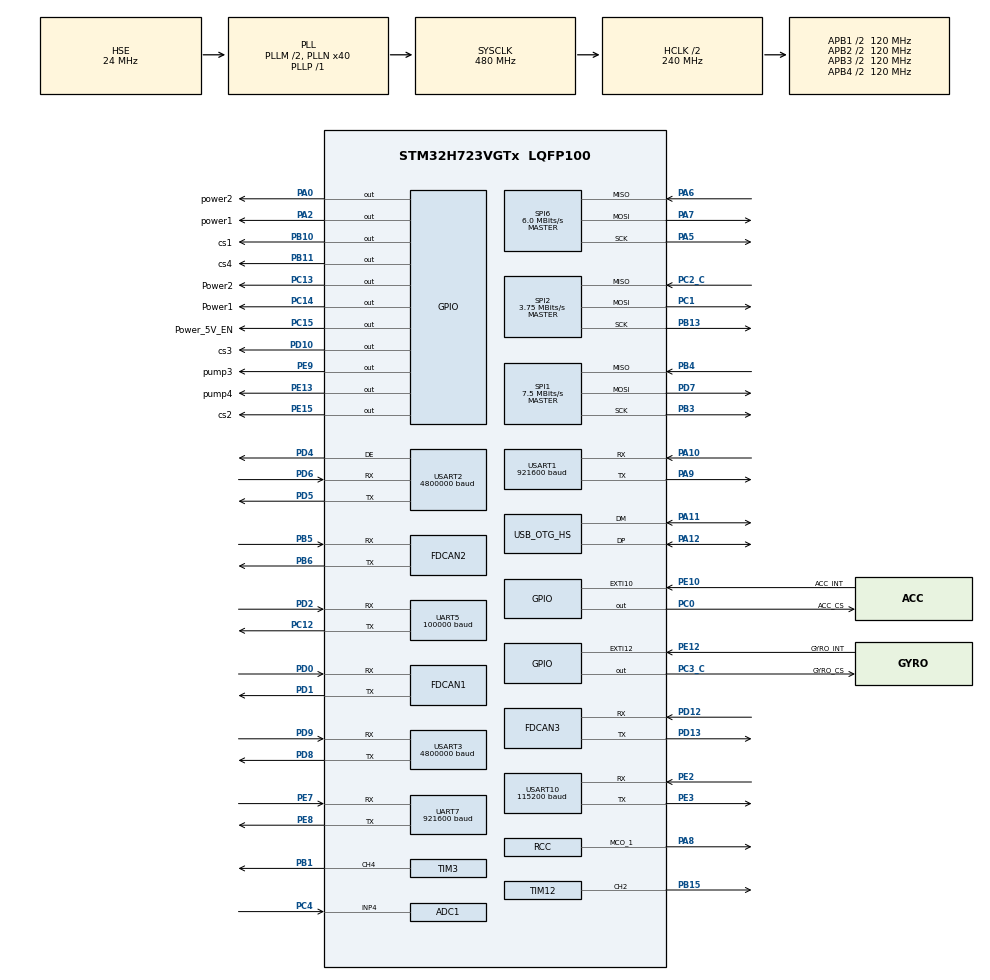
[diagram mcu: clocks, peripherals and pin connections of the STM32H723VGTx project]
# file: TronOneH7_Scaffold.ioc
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ADC1.Channel-0\#ChannelRegularConversion=ADC_CHANNEL_4
ADC1.Channel-1\#ChannelRegularConversion=ADC_CHANNEL_4
ADC1.ClockPrescaler=ADC_CLOCK_ASYNC_DIV64
ADC1.ContinuousConvMode=ENABLE
ADC1.ConversionDataManagement=ADC_CONVERSIONDATA_DMA_CIRCULAR
ADC1.NbrOfConversion=2
ADC1.NbrOfConversionFlag=1
ADC1.OffsetNumber-0\#ChannelRegularConversion=ADC_OFFSET_NONE
ADC1.OffsetNumber-1\#ChannelRegularConversion=ADC_OFFSET_NONE
ADC1.OffsetSignedSaturation-0\#ChannelRegularConversion=DISABLE
ADC1.OffsetSignedSaturation-1\#ChannelRegularConversion=DISABLE
ADC1.Rank-0\#ChannelRegularConversion=1
ADC1.Rank-1\#ChannelRegularConversion=2
ADC1.SamplingTime-0\#ChannelRegularConversion=ADC_SAMPLETIME_1CYCLE_5
ADC1.SamplingTime-1\#ChannelRegularConversion=ADC_SAMPLETIME_1CYCLE_5
ADC1.master=1
ADC3.Channel-0\#ChannelRegularConversion=ADC_CHANNEL_TEMPSENSOR
ADC3.ClockPrescaler=ADC_CLOCK_ASYNC_DIV64
ADC3.NbrOfConversionFlag=1
ADC3.OffsetNumber-0\#ChannelRegularConversion=ADC_OFFSET_NONE
ADC3.OffsetSign-0\#ChannelRegularConversion=ADC3_OFFSET_SIGN_NEGATIVE
ADC3.Rank-0\#ChannelRegularConversion=1
ADC3.SamplingTime-0\#ChannelRegularConversion=ADC3_SAMPLETIME_640CYCLES_5
CORTEX_M7.AccessPermission_Spec=MPU_REGION_FULL_ACCESS
CORTEX_M7.BaseAddress_Spec=0x24000000
CORTEX_M7.CPU_DCache=Enabled
CORTEX_M7.CPU_ICache=Enabled
CORTEX_M7.DisableExec_Spec=MPU_INSTRUCTION_ACCESS_ENABLE
CORTEX_M7.IsShareable_Spec=MPU_ACCESS_NOT_SHAREABLE
CORTEX_M7.MPU_Control=MPU_HFNMI_PRIVDEF
CORTEX_M7.Size_Spec=MPU_REGION_SIZE_128KB
CORTEX_M7.SubRegionDisable_Spec=0x0
CORTEX_M7.TypeExtField_Spec=MPU_TEX_LEVEL1
CORTEX_M7.default_mode_Activation=1
CRC.CRCLength=CRC_POLYLENGTH_16B
CRC.DefaultInitValueUse=DEFAULT_INIT_VALUE_DISABLE
CRC.DefaultPolynomialUse=DEFAULT_POLYNOMIAL_DISABLE
CRC.InputDataInversionMode=CRC_INPUTDATA_INVERSION_BYTE
Dma.ADC1.14.Direction=DMA_PERIPH_TO_MEMORY
Dma.ADC1.14.EventEnable=DISABLE
Dma.ADC1.14.FIFOMode=DMA_FIFOMODE_DISABLE
Dma.ADC1.14.Instance=DMA1_Stream2
Dma.ADC1.14.MemDataAlignment=DMA_MDATAALIGN_HALFWORD
Dma.ADC1.14.MemInc=DMA_MINC_ENABLE
Dma.ADC1.14.Mode=DMA_CIRCULAR
Dma.ADC1.14.PeriphDataAlignment=DMA_PDATAALIGN_HALFWORD
Dma.ADC1.14.PeriphInc=DMA_PINC_DISABLE
Dma.ADC1.14.Polarity=HAL_DMAMUX_REQ_GEN_RISING
Dma.ADC1.14.Priority=DMA_PRIORITY_LOW
Dma.ADC1.14.RequestNumber=1
Dma.ADC1.14.SignalID=NONE
Dma.ADC1.14.SyncEnable=DISABLE
Dma.ADC1.14.SyncPolarity=HAL_DMAMUX_SYNC_NO_EVENT
Dma.ADC1.14.SyncRequestNumber=1
Dma.ADC1.14.SyncSignalID=NONE
Dma.Request0=USART10_RX
Dma.Request1=USART10_TX
Dma.Request10=USART3_TX
Dma.Request11=SPI1_RX
Dma.Request12=SPI1_TX
Dma.Request13=UART5_RX
Dma.Request14=ADC1
Dma.Request2=SPI2_RX
Dma.Request3=SPI2_TX
Dma.Request4=UART7_RX
Dma.Request5=USART1_RX
Dma.Request6=USART1_TX
Dma.Request7=USART2_RX
Dma.Request8=USART2_TX
Dma.Request9=USART3_RX
Dma.SPI1_RX.11.Direction=DMA_PERIPH_TO_MEMORY
Dma.SPI1_RX.11.EventEnable=DISABLE
Dma.SPI1_RX.11.FIFOMode=DMA_FIFOMODE_DISABLE
Dma.SPI1_RX.11.Instance=DMA2_Stream7
Dma.SPI1_RX.11.MemDataAlignment=DMA_MDATAALIGN_HALFWORD
Dma.SPI1_RX.11.MemInc=DMA_MINC_ENABLE
Dma.SPI1_RX.11.Mode=DMA_NORMAL
Dma.SPI1_RX.11.PeriphDataAlignment=DMA_PDATAALIGN_HALFWORD
Dma.SPI1_RX.11.PeriphInc=DMA_PINC_DISABLE
Dma.SPI1_RX.11.Polarity=HAL_DMAMUX_REQ_GEN_RISING
Dma.SPI1_RX.11.Priority=DMA_PRIORITY_VERY_HIGH
Dma.SPI1_RX.11.RequestNumber=1
Dma.SPI1_RX.11.SignalID=NONE
Dma.SPI1_RX.11.SyncEnable=DISABLE
Dma.SPI1_RX.11.SyncPolarity=HAL_DMAMUX_SYNC_NO_EVENT
Dma.SPI1_RX.11.SyncRequestNumber=1
Dma.SPI1_RX.11.SyncSignalID=NONE
Dma.SPI1_TX.12.Direction=DMA_MEMORY_TO_PERIPH
Dma.SPI1_TX.12.EventEnable=DISABLE
Dma.SPI1_TX.12.FIFOMode=DMA_FIFOMODE_DISABLE
Dma.SPI1_TX.12.Instance=DMA1_Stream3
Dma.SPI1_TX.12.MemDataAlignment=DMA_MDATAALIGN_HALFWORD
Dma.SPI1_TX.12.MemInc=DMA_MINC_ENABLE
Dma.SPI1_TX.12.Mode=DMA_NORMAL
Dma.SPI1_TX.12.PeriphDataAlignment=DMA_PDATAALIGN_HALFWORD
Dma.SPI1_TX.12.PeriphInc=DMA_PINC_DISABLE
Dma.SPI1_TX.12.Polarity=HAL_DMAMUX_REQ_GEN_RISING
Dma.SPI1_TX.12.Priority=DMA_PRIORITY_VERY_HIGH
Dma.SPI1_TX.12.RequestNumber=1
Dma.SPI1_TX.12.SignalID=NONE
Dma.SPI1_TX.12.SyncEnable=DISABLE
Dma.SPI1_TX.12.SyncPolarity=HAL_DMAMUX_SYNC_NO_EVENT
Dma.SPI1_TX.12.SyncRequestNumber=1
Dma.SPI1_TX.12.SyncSignalID=NONE
Dma.SPI2_RX.2.Direction=DMA_PERIPH_TO_MEMORY
Dma.SPI2_RX.2.EventEnable=DISABLE
Dma.SPI2_RX.2.FIFOMode=DMA_FIFOMODE_DISABLE
Dma.SPI2_RX.2.Instance=DMA1_Stream0
Dma.SPI2_RX.2.MemDataAlignment=DMA_MDATAALIGN_BYTE
Dma.SPI2_RX.2.MemInc=DMA_MINC_ENABLE
Dma.SPI2_RX.2.Mode=DMA_NORMAL
Dma.SPI2_RX.2.PeriphDataAlignment=DMA_PDATAALIGN_BYTE
Dma.SPI2_RX.2.PeriphInc=DMA_PINC_DISABLE
Dma.SPI2_RX.2.Polarity=HAL_DMAMUX_REQ_GEN_RISING
Dma.SPI2_RX.2.Priority=DMA_PRIORITY_VERY_HIGH
Dma.SPI2_RX.2.RequestNumber=1
Dma.SPI2_RX.2.SignalID=NONE
Dma.SPI2_RX.2.SyncEnable=DISABLE
Dma.SPI2_RX.2.SyncPolarity=HAL_DMAMUX_SYNC_NO_EVENT
Dma.SPI2_RX.2.SyncRequestNumber=1
Dma.SPI2_RX.2.SyncSignalID=NONE
Dma.SPI2_TX.3.Direction=DMA_MEMORY_TO_PERIPH
Dma.SPI2_TX.3.EventEnable=DISABLE
Dma.SPI2_TX.3.FIFOMode=DMA_FIFOMODE_DISABLE
Dma.SPI2_TX.3.Instance=DMA1_Stream1
Dma.SPI2_TX.3.MemDataAlignment=DMA_MDATAALIGN_BYTE
Dma.SPI2_TX.3.MemInc=DMA_MINC_ENABLE
Dma.SPI2_TX.3.Mode=DMA_NORMAL
Dma.SPI2_TX.3.PeriphDataAlignment=DMA_PDATAALIGN_BYTE
Dma.SPI2_TX.3.PeriphInc=DMA_PINC_DISABLE
Dma.SPI2_TX.3.Polarity=HAL_DMAMUX_REQ_GEN_RISING
Dma.SPI2_TX.3.Priority=DMA_PRIORITY_HIGH
Dma.SPI2_TX.3.RequestNumber=1
Dma.SPI2_TX.3.SignalID=NONE
Dma.SPI2_TX.3.SyncEnable=DISABLE
Dma.SPI2_TX.3.SyncPolarity=HAL_DMAMUX_SYNC_NO_EVENT
Dma.SPI2_TX.3.SyncRequestNumber=1
Dma.SPI2_TX.3.SyncSignalID=NONE
Dma.UART5_RX.13.Direction=DMA_PERIPH_TO_MEMORY
Dma.UART5_RX.13.EventEnable=DISABLE
Dma.UART5_RX.13.FIFOMode=DMA_FIFOMODE_DISABLE
Dma.UART5_RX.13.Instance=DMA1_Stream5
Dma.UART5_RX.13.MemDataAlignment=DMA_MDATAALIGN_BYTE
Dma.UART5_RX.13.MemInc=DMA_MINC_ENABLE
Dma.UART5_RX.13.Mode=DMA_NORMAL
Dma.UART5_RX.13.PeriphDataAlignment=DMA_PDATAALIGN_BYTE
Dma.UART5_RX.13.PeriphInc=DMA_PINC_DISABLE
Dma.UART5_RX.13.Polarity=HAL_DMAMUX_REQ_GEN_RISING
Dma.UART5_RX.13.Priority=DMA_PRIORITY_VERY_HIGH
Dma.UART5_RX.13.RequestNumber=1
Dma.UART5_RX.13.SignalID=NONE
Dma.UART5_RX.13.SyncEnable=DISABLE
Dma.UART5_RX.13.SyncPolarity=HAL_DMAMUX_SYNC_NO_EVENT
Dma.UART5_RX.13.SyncRequestNumber=1
Dma.UART5_RX.13.SyncSignalID=NONE
Dma.UART7_RX.4.Direction=DMA_PERIPH_TO_MEMORY
Dma.UART7_RX.4.EventEnable=DISABLE
Dma.UART7_RX.4.FIFOMode=DMA_FIFOMODE_DISABLE
Dma.UART7_RX.4.Instance=DMA2_Stream0
Dma.UART7_RX.4.MemDataAlignment=DMA_MDATAALIGN_BYTE
Dma.UART7_RX.4.MemInc=DMA_MINC_ENABLE
Dma.UART7_RX.4.Mode=DMA_CIRCULAR
Dma.UART7_RX.4.PeriphDataAlignment=DMA_PDATAALIGN_BYTE
Dma.UART7_RX.4.PeriphInc=DMA_PINC_DISABLE
Dma.UART7_RX.4.Polarity=HAL_DMAMUX_REQ_GEN_RISING
Dma.UART7_RX.4.Priority=DMA_PRIORITY_LOW
Dma.UART7_RX.4.RequestNumber=1
Dma.UART7_RX.4.SignalID=NONE
Dma.UART7_RX.4.SyncEnable=DISABLE
Dma.UART7_RX.4.SyncPolarity=HAL_DMAMUX_SYNC_NO_EVENT
Dma.UART7_RX.4.SyncRequestNumber=1
Dma.UART7_RX.4.SyncSignalID=NONE
Dma.USART10_RX.0.Direction=DMA_PERIPH_TO_MEMORY
Dma.USART10_RX.0.EventEnable=DISABLE
Dma.USART10_RX.0.FIFOMode=DMA_FIFOMODE_DISABLE
Dma.USART10_RX.0.Instance=DMA2_Stream1
Dma.USART10_RX.0.MemDataAlignment=DMA_MDATAALIGN_BYTE
Dma.USART10_RX.0.MemInc=DMA_MINC_ENABLE
Dma.USART10_RX.0.Mode=DMA_CIRCULAR
Dma.USART10_RX.0.PeriphDataAlignment=DMA_PDATAALIGN_BYTE
Dma.USART10_RX.0.PeriphInc=DMA_PINC_DISABLE
Dma.USART10_RX.0.Polarity=HAL_DMAMUX_REQ_GEN_RISING
Dma.USART10_RX.0.Priority=DMA_PRIORITY_VERY_HIGH
Dma.USART10_RX.0.RequestNumber=1
Dma.USART10_RX.0.SignalID=NONE
Dma.USART10_RX.0.SyncEnable=DISABLE
Dma.USART10_RX.0.SyncPolarity=HAL_DMAMUX_SYNC_NO_EVENT
Dma.USART10_RX.0.SyncRequestNumber=1
Dma.USART10_RX.0.SyncSignalID=NONE
Dma.USART10_TX.1.Direction=DMA_MEMORY_TO_PERIPH
Dma.USART10_TX.1.EventEnable=DISABLE
Dma.USART10_TX.1.FIFOMode=DMA_FIFOMODE_DISABLE
Dma.USART10_TX.1.Instance=DMA1_Stream4
Dma.USART10_TX.1.MemDataAlignment=DMA_MDATAALIGN_BYTE
Dma.USART10_TX.1.MemInc=DMA_MINC_ENABLE
Dma.USART10_TX.1.Mode=DMA_NORMAL
Dma.USART10_TX.1.PeriphDataAlignment=DMA_PDATAALIGN_BYTE
Dma.USART10_TX.1.PeriphInc=DMA_PINC_DISABLE
Dma.USART10_TX.1.Polarity=HAL_DMAMUX_REQ_GEN_RISING
Dma.USART10_TX.1.Priority=DMA_PRIORITY_LOW
Dma.USART10_TX.1.RequestNumber=1
Dma.USART10_TX.1.SignalID=NONE
Dma.USART10_TX.1.SyncEnable=DISABLE
Dma.USART10_TX.1.SyncPolarity=HAL_DMAMUX_SYNC_NO_EVENT
Dma.USART10_TX.1.SyncRequestNumber=1
Dma.USART10_TX.1.SyncSignalID=NONE
Dma.USART1_RX.5.Direction=DMA_PERIPH_TO_MEMORY
Dma.USART1_RX.5.EventEnable=DISABLE
Dma.USART1_RX.5.FIFOMode=DMA_FIFOMODE_DISABLE
Dma.USART1_RX.5.Instance=DMA1_Stream6
Dma.USART1_RX.5.MemDataAlignment=DMA_MDATAALIGN_BYTE
Dma.USART1_RX.5.MemInc=DMA_MINC_ENABLE
Dma.USART1_RX.5.Mode=DMA_CIRCULAR
Dma.USART1_RX.5.PeriphDataAlignment=DMA_PDATAALIGN_BYTE
Dma.USART1_RX.5.PeriphInc=DMA_PINC_DISABLE
Dma.USART1_RX.5.Polarity=HAL_DMAMUX_REQ_GEN_RISING
Dma.USART1_RX.5.Priority=DMA_PRIORITY_LOW
Dma.USART1_RX.5.RequestNumber=1
Dma.USART1_RX.5.SignalID=NONE
Dma.USART1_RX.5.SyncEnable=DISABLE
Dma.USART1_RX.5.SyncPolarity=HAL_DMAMUX_SYNC_NO_EVENT
Dma.USART1_RX.5.SyncRequestNumber=1
Dma.USART1_RX.5.SyncSignalID=NONE
Dma.USART1_TX.6.Direction=DMA_MEMORY_TO_PERIPH
Dma.USART1_TX.6.EventEnable=DISABLE
Dma.USART1_TX.6.FIFOMode=DMA_FIFOMODE_DISABLE
Dma.USART1_TX.6.Instance=DMA1_Stream7
Dma.USART1_TX.6.MemDataAlignment=DMA_MDATAALIGN_BYTE
Dma.USART1_TX.6.MemInc=DMA_MINC_ENABLE
Dma.USART1_TX.6.Mode=DMA_NORMAL
Dma.USART1_TX.6.PeriphDataAlignment=DMA_PDATAALIGN_BYTE
Dma.USART1_TX.6.PeriphInc=DMA_PINC_DISABLE
Dma.USART1_TX.6.Polarity=HAL_DMAMUX_REQ_GEN_RISING
Dma.USART1_TX.6.Priority=DMA_PRIORITY_LOW
Dma.USART1_TX.6.RequestNumber=1
Dma.USART1_TX.6.SignalID=NONE
Dma.USART1_TX.6.SyncEnable=DISABLE
Dma.USART1_TX.6.SyncPolarity=HAL_DMAMUX_SYNC_NO_EVENT
Dma.USART1_TX.6.SyncRequestNumber=1
Dma.USART1_TX.6.SyncSignalID=NONE
Dma.USART2_RX.7.Direction=DMA_PERIPH_TO_MEMORY
Dma.USART2_RX.7.EventEnable=DISABLE
Dma.USART2_RX.7.FIFOMode=DMA_FIFOMODE_DISABLE
Dma.USART2_RX.7.Instance=DMA2_Stream3
Dma.USART2_RX.7.MemDataAlignment=DMA_MDATAALIGN_BYTE
Dma.USART2_RX.7.MemInc=DMA_MINC_ENABLE
Dma.USART2_RX.7.Mode=DMA_CIRCULAR
Dma.USART2_RX.7.PeriphDataAlignment=DMA_PDATAALIGN_BYTE
Dma.USART2_RX.7.PeriphInc=DMA_PINC_DISABLE
Dma.USART2_RX.7.Polarity=HAL_DMAMUX_REQ_GEN_RISING
Dma.USART2_RX.7.Priority=DMA_PRIORITY_HIGH
Dma.USART2_RX.7.RequestNumber=1
Dma.USART2_RX.7.SignalID=NONE
Dma.USART2_RX.7.SyncEnable=DISABLE
Dma.USART2_RX.7.SyncPolarity=HAL_DMAMUX_SYNC_NO_EVENT
Dma.USART2_RX.7.SyncRequestNumber=1
Dma.USART2_RX.7.SyncSignalID=NONE
Dma.USART2_TX.8.Direction=DMA_MEMORY_TO_PERIPH
Dma.USART2_TX.8.EventEnable=DISABLE
Dma.USART2_TX.8.FIFOMode=DMA_FIFOMODE_DISABLE
Dma.USART2_TX.8.Instance=DMA2_Stream4
Dma.USART2_TX.8.MemDataAlignment=DMA_MDATAALIGN_BYTE
Dma.USART2_TX.8.MemInc=DMA_MINC_ENABLE
Dma.USART2_TX.8.Mode=DMA_NORMAL
Dma.USART2_TX.8.PeriphDataAlignment=DMA_PDATAALIGN_BYTE
Dma.USART2_TX.8.PeriphInc=DMA_PINC_DISABLE
Dma.USART2_TX.8.Polarity=HAL_DMAMUX_REQ_GEN_RISING
Dma.USART2_TX.8.Priority=DMA_PRIORITY_HIGH
Dma.USART2_TX.8.RequestNumber=1
Dma.USART2_TX.8.SignalID=NONE
Dma.USART2_TX.8.SyncEnable=DISABLE
Dma.USART2_TX.8.SyncPolarity=HAL_DMAMUX_SYNC_NO_EVENT
Dma.USART2_TX.8.SyncRequestNumber=1
Dma.USART2_TX.8.SyncSignalID=NONE
Dma.USART3_RX.9.Direction=DMA_PERIPH_TO_MEMORY
Dma.USART3_RX.9.EventEnable=DISABLE
Dma.USART3_RX.9.FIFOMode=DMA_FIFOMODE_DISABLE
Dma.USART3_RX.9.Instance=DMA2_Stream5
Dma.USART3_RX.9.MemDataAlignment=DMA_MDATAALIGN_BYTE
Dma.USART3_RX.9.MemInc=DMA_MINC_ENABLE
Dma.USART3_RX.9.Mode=DMA_CIRCULAR
Dma.USART3_RX.9.PeriphDataAlignment=DMA_PDATAALIGN_BYTE
Dma.USART3_RX.9.PeriphInc=DMA_PINC_DISABLE
Dma.USART3_RX.9.Polarity=HAL_DMAMUX_REQ_GEN_RISING
Dma.USART3_RX.9.Priority=DMA_PRIORITY_HIGH
Dma.USART3_RX.9.RequestNumber=1
Dma.USART3_RX.9.SignalID=NONE
Dma.USART3_RX.9.SyncEnable=DISABLE
Dma.USART3_RX.9.SyncPolarity=HAL_DMAMUX_SYNC_NO_EVENT
Dma.USART3_RX.9.SyncRequestNumber=1
Dma.USART3_RX.9.SyncSignalID=NONE
Dma.USART3_TX.10.Direction=DMA_MEMORY_TO_PERIPH
Dma.USART3_TX.10.EventEnable=DISABLE
Dma.USART3_TX.10.FIFOMode=DMA_FIFOMODE_DISABLE
Dma.USART3_TX.10.Instance=DMA2_Stream6
Dma.USART3_TX.10.MemDataAlignment=DMA_MDATAALIGN_BYTE
Dma.USART3_TX.10.MemInc=DMA_MINC_ENABLE
Dma.USART3_TX.10.Mode=DMA_NORMAL
Dma.USART3_TX.10.PeriphDataAlignment=DMA_PDATAALIGN_BYTE
Dma.USART3_TX.10.PeriphInc=DMA_PINC_DISABLE
Dma.USART3_TX.10.Polarity=HAL_DMAMUX_REQ_GEN_RISING
Dma.USART3_TX.10.Priority=DMA_PRIORITY_HIGH
Dma.USART3_TX.10.RequestNumber=1
Dma.USART3_TX.10.SignalID=NONE
Dma.USART3_TX.10.SyncEnable=DISABLE
Dma.USART3_TX.10.SyncPolarity=HAL_DMAMUX_SYNC_NO_EVENT
Dma.USART3_TX.10.SyncRequestNumber=1
Dma.USART3_TX.10.SyncSignalID=NONE
FDCAN1.AutoRetransmission=DISABLE
FDCAN1.CalculateBaudRateNominal=1000000
FDCAN1.CalculateTimeBitNominal=1000
FDCAN1.CalculateTimeQuantumNominal=25.0
FDCAN1.DataPrescaler=3
FDCAN1.DataSyncJumpWidth=10
FDCAN1.DataTimeSeg1=29
FDCAN1.DataTimeSeg2=10
FDCAN1.NominalPrescaler=3
FDCAN1.NominalSyncJumpWidth=10
FDCAN1.NominalTimeSeg1=29
FDCAN1.NominalTimeSeg2=10
FDCAN1.ProtocolException=DISABLE
FDCAN1.RxFifo0ElmtsNbr=4
FDCAN1.RxFifo1ElmtsNbr=4
FDCAN1.StdFiltersNbr=14
FDCAN1.TxFifoQueueElmtsNbr=32
FDCAN1.TxFifoQueueMode=FDCAN_TX_FIFO_OPERATION
FDCAN2.AutoRetransmission=DISABLE
FDCAN2.CalculateBaudRateNominal=1000000
FDCAN2.CalculateTimeBitNominal=1000
FDCAN2.CalculateTimeQuantumNominal=25.0
FDCAN2.DataPrescaler=3
FDCAN2.DataSyncJumpWidth=10
FDCAN2.DataTimeSeg1=29
FDCAN2.DataTimeSeg2=10
FDCAN2.MessageRAMOffset=853
FDCAN2.NominalPrescaler=3
FDCAN2.NominalSyncJumpWidth=10
FDCAN2.NominalTimeSeg1=29
FDCAN2.NominalTimeSeg2=10
FDCAN2.ProtocolException=DISABLE
FDCAN2.RxFifo0ElmtsNbr=4
FDCAN2.RxFifo1ElmtsNbr=4
FDCAN2.StdFiltersNbr=14
FDCAN2.TxFifoQueueElmtsNbr=32
FDCAN3.AutoRetransmission=DISABLE
FDCAN3.CalculateBaudRateNominal=1000000
FDCAN3.CalculateTimeBitNominal=1000
FDCAN3.CalculateTimeQuantumNominal=25.0
FDCAN3.ClockCalibrationCCU=DISABLE
FDCAN3.DataPrescaler=3
FDCAN3.DataSyncJumpWidth=10
FDCAN3.DataTimeSeg1=29
FDCAN3.DataTimeSeg2=10
FDCAN3.MessageRAMOffset=1706
FDCAN3.NominalPrescaler=3
FDCAN3.NominalSyncJumpWidth=10
FDCAN3.NominalTimeSeg1=29
FDCAN3.NominalTimeSeg2=10
FDCAN3.ProtocolException=DISABLE
FDCAN3.RxFifo0ElmtsNbr=4
FDCAN3.RxFifo1ElmtsNbr=4
FDCAN3.StdFiltersNbr=14
FDCAN3.TxFifoQueueElmtsNbr=32
FREERTOS.Tasks01=BeginTask,24,256,StartDefaultTask,As weak,NULL,Dynamic,NULL,NULL;shoot,24,512,ShootTask,As weak,NULL,Dynamic,NULL,NULL;gimbal,24,512,GimbalTask,As weak,NULL,Dynamic,NULL,NULL;chassis,24,512,ChassisTask,As weak,NULL,Dynamic,NULL,NULL;init,40,256,StartInitTask,As weak,NULL,Dynamic,NULL,NULL;vision,24,512,VisionTask,As weak,NULL,Dynamic,NULL,NULL;cmd,24,512,CmdTask,As weak,NULL,Dynamic,NULL,NULL;reference,24,512,RefereeTask,As weak,NULL,Dynamic,NULL,NULL;WS2812Task,16,256,ws2812Task,As external,NULL,Dynamic,NULL,NULL
FREERTOS.configCHECK_FOR_STACK_OVERFLOW=2
FREERTOS.configENABLE_FPU=1
FREERTOS.configMINIMAL_STACK_SIZE=256
FREERTOS.configTOTAL_HEAP_SIZE=30720
FREERTOS.configUSE_MALLOC_FAILED_HOOK=1
FREERTOS.configUSE_NEWLIB_REENTRANT=0
Mcu.Family=STM32H7
Mcu.Name=STM32H723VGTx
Mcu.Package=LQFP100
NVIC.ADC_IRQn=true\:5\:0\:false\:false\:true\:true\:true\:true\:true
NVIC.DMA1_Stream0_IRQn=true\:5\:0\:false\:false\:true\:true\:false\:true\:true
NVIC.DMA1_Stream1_IRQn=true\:5\:0\:false\:false\:true\:true\:false\:true\:true
NVIC.DMA1_Stream2_IRQn=true\:5\:0\:false\:false\:true\:true\:false\:true\:true
NVIC.DMA1_Stream3_IRQn=true\:5\:0\:false\:false\:true\:true\:false\:true\:true
NVIC.DMA1_Stream4_IRQn=true\:5\:0\:false\:false\:true\:true\:false\:true\:true
NVIC.DMA1_Stream5_IRQn=true\:5\:0\:false\:false\:true\:true\:false\:true\:true
NVIC.DMA1_Stream6_IRQn=true\:5\:0\:false\:false\:true\:true\:false\:true\:true
NVIC.DMA1_Stream7_IRQn=true\:5\:0\:false\:false\:true\:true\:false\:true\:true
NVIC.DMA2_Stream0_IRQn=true\:5\:0\:false\:false\:true\:true\:false\:true\:true
NVIC.DMA2_Stream1_IRQn=true\:5\:0\:false\:false\:true\:true\:false\:true\:true
NVIC.DMA2_Stream3_IRQn=true\:5\:0\:false\:false\:true\:true\:false\:true\:true
NVIC.DMA2_Stream4_IRQn=true\:5\:0\:false\:false\:true\:true\:false\:true\:true
NVIC.DMA2_Stream5_IRQn=true\:5\:0\:false\:false\:true\:true\:false\:true\:true
NVIC.DMA2_Stream6_IRQn=true\:5\:0\:false\:false\:true\:true\:false\:true\:true
NVIC.DMA2_Stream7_IRQn=true\:5\:0\:false\:false\:true\:true\:false\:true\:true
NVIC.FDCAN1_IT0_IRQn=true\:5\:0\:false\:false\:true\:true\:true\:true\:true
NVIC.FDCAN1_IT1_IRQn=true\:5\:0\:false\:false\:true\:true\:true\:true\:true
NVIC.FDCAN2_IT0_IRQn=true\:5\:0\:false\:false\:true\:true\:true\:true\:true
NVIC.FDCAN2_IT1_IRQn=true\:5\:0\:false\:false\:true\:true\:true\:true\:true
NVIC.FDCAN3_IT0_IRQn=true\:5\:0\:false\:false\:true\:true\:true\:true\:true
NVIC.FDCAN3_IT1_IRQn=true\:5\:0\:false\:false\:true\:true\:true\:true\:true
NVIC.OTG_HS_IRQn=true\:5\:0\:false\:false\:true\:true\:false\:true\:true
NVIC.PriorityGroup=NVIC_PRIORITYGROUP_4
NVIC.SPI1_IRQn=true\:5\:0\:false\:false\:true\:true\:true\:true\:true
NVIC.SPI2_IRQn=true\:5\:0\:false\:false\:true\:true\:false\:true\:true
NVIC.TIM23_IRQn=true\:15\:0\:false\:false\:true\:false\:false\:true\:true
NVIC.TimeBase=TIM23_IRQn
NVIC.TimeBaseIP=TIM23
NVIC.UART5_IRQn=true\:5\:0\:false\:false\:true\:true\:true\:true\:true
NVIC.UART7_IRQn=true\:5\:0\:false\:false\:true\:true\:true\:true\:true
NVIC.USART10_IRQn=true\:5\:0\:false\:false\:true\:true\:true\:true\:true
NVIC.USART1_IRQn=true\:5\:0\:false\:false\:true\:true\:true\:true\:true
NVIC.USART2_IRQn=true\:5\:0\:false\:false\:true\:true\:true\:true\:true
NVIC.USART3_IRQn=true\:5\:0\:false\:false\:true\:true\:true\:true\:true
PA0.GPIO_Label=power2
PA0.GPIO_PuPd=GPIO_PULLDOWN
PA0.GPIO_Speed=GPIO_SPEED_FREQ_HIGH
PA0.PinState=GPIO_PIN_SET
PA0.Signal=GPIO_Output
PA10.Mode=Asynchronous
PA10.Signal=USART1_RX
PA11.Mode=Device_Only_FS
PA11.Signal=USB_OTG_HS_DM
PA12.Mode=Device_Only_FS
PA12.Signal=USB_OTG_HS_DP
PA2.GPIO_Label=power1
PA2.GPIO_PuPd=GPIO_PULLDOWN
PA2.GPIO_Speed=GPIO_SPEED_FREQ_HIGH
PA2.PinState=GPIO_PIN_SET
PA2.Signal=GPIO_Output
PA5.Mode=TX_Only_Simplex_Unidirect_Master
PA5.Signal=SPI6_SCK
PA6.Mode=Full_Duplex_Master
PA6.Signal=SPI6_MISO
PA7.Mode=TX_Only_Simplex_Unidirect_Master
PA7.Signal=SPI6_MOSI
PA8.Mode=Clock-out-1
PA8.Signal=RCC_MCO_1
PA9.Mode=Asynchronous
PA9.Signal=USART1_TX
PB1.Signal=S_TIM3_CH4
PB10.GPIO_Label=cs1
PB10.GPIO_PuPd=GPIO_PULLUP
PB10.GPIO_Speed=GPIO_SPEED_FREQ_VERY_HIGH
PB10.PinState=GPIO_PIN_SET
PB10.Signal=GPIO_Output
PB11.GPIO_Label=cs4
PB11.GPIO_PuPd=GPIO_PULLUP
PB11.GPIO_Speed=GPIO_SPEED_FREQ_VERY_HIGH
PB11.PinState=GPIO_PIN_SET
PB11.Signal=GPIO_Output
PB13.GPIO_Speed=GPIO_SPEED_FREQ_VERY_HIGH
PB13.Mode=Full_Duplex_Master
PB13.Signal=SPI2_SCK
PB15.Signal=S_TIM12_CH2
PB3(JTDO/TRACESWO).Mode=Full_Duplex_Master
PB3(JTDO/TRACESWO).Signal=SPI1_SCK
PB4(NJTRST).Mode=Full_Duplex_Master
PB4(NJTRST).Signal=SPI1_MISO
PB5.Mode=FDCAN_Activate
PB5.Signal=FDCAN2_RX
PB6.Mode=FDCAN_Activate
PB6.Signal=FDCAN2_TX
PC0.GPIO_Label=ACC_CS
PC0.GPIO_Speed=GPIO_SPEED_FREQ_VERY_HIGH
PC0.Signal=GPIO_Output
PC1.GPIO_Speed=GPIO_SPEED_FREQ_VERY_HIGH
PC1.Mode=Full_Duplex_Master
PC1.Signal=SPI2_MOSI
PC10.Signal=SPI3_SCK
PC11.Signal=SPI3_MISO
PC12.Signal=SharedStack_PC12
PC12.Stacked=true
PC13.GPIO_Label=Power2
PC13.PinState=GPIO_PIN_SET
PC13.Signal=GPIO_Output
PC14-OSC32_IN.GPIO_Label=Power1
PC14-OSC32_IN.PinState=GPIO_PIN_SET
PC14-OSC32_IN.Signal=GPIO_Output
PC15-OSC32_OUT.GPIO_Label=Power_5V_EN
PC15-OSC32_OUT.PinState=GPIO_PIN_SET
PC15-OSC32_OUT.Signal=GPIO_Output
PC2_C.GPIO_Speed=GPIO_SPEED_FREQ_VERY_HIGH
PC2_C.Mode=Full_Duplex_Master
PC2_C.Signal=SPI2_MISO
PC3_C.GPIO_Label=GYRO_CS
PC3_C.GPIO_Speed=GPIO_SPEED_FREQ_VERY_HIGH
PC3_C.PinState=GPIO_PIN_SET
PC3_C.Signal=GPIO_Output
PC4.Signal=ADCx_INP4
PD0.Mode=FDCAN_Activate
PD0.Signal=FDCAN1_RX
PD1.Mode=FDCAN_Activate
PD1.Signal=FDCAN1_TX
PD10.GPIO_Label=cs3
PD10.GPIO_PuPd=GPIO_PULLUP
PD10.GPIO_Speed=GPIO_SPEED_FREQ_VERY_HIGH
PD10.PinState=GPIO_PIN_SET
PD10.Signal=GPIO_Output
PD12.Mode=FDCAN_Activate
PD12.Signal=FDCAN3_RX
PD13.Mode=FDCAN_Activate
PD13.Signal=FDCAN3_TX
PD2.Mode=Asynchronous
PD2.Signal=UART5_RX
PD4.Mode=Hardware Flow Control (RS485)
PD4.Signal=USART2_DE
PD5.Mode=Asynchronous
PD5.Signal=USART2_TX
PD6.Mode=Asynchronous
PD6.Signal=USART2_RX
PD7.Mode=Full_Duplex_Master
PD7.Signal=SPI1_MOSI
PD8.Mode=Asynchronous
PD8.Signal=USART3_TX
PD9.Mode=Asynchronous
PD9.Signal=USART3_RX
PE10.GPIO_Label=ACC_INT
PE10.Signal=GPXTI10
PE12.GPIO_Label=GYRO_INT
PE12.Signal=GPXTI12
PE13.GPIO_Label=pump4
PE13.GPIO_PuPd=GPIO_PULLDOWN
PE13.Signal=GPIO_Output
PE15.GPIO_Label=cs2
PE15.GPIO_PuPd=GPIO_PULLUP
PE15.GPIO_Speed=GPIO_SPEED_FREQ_VERY_HIGH
PE15.PinState=GPIO_PIN_SET
PE15.Signal=GPIO_Output
PE2.Mode=Asynchronous
PE2.Signal=USART10_RX
PE3.Mode=Asynchronous
PE3.Signal=USART10_TX
PE7.Mode=Asynchronous
PE7.Signal=UART7_RX
PE8.Mode=Asynchronous
PE8.Signal=UART7_TX
PE9.GPIO_Label=pump3
PE9.GPIO_PuPd=GPIO_PULLDOWN
PE9.Signal=GPIO_Output
PH0-OSC_IN.Mode=HSE-External-Oscillator
PH0-OSC_IN.Signal=RCC_OSC_IN
PH1-OSC_OUT.Mode=HSE-External-Oscillator
PH1-OSC_OUT.Signal=RCC_OSC_OUT
ProjectManager.HeapSize=0x4000
ProjectManager.StackSize=0x4000
ProjectManager.TargetToolchain=CMake
RCC.ADCFreq_Value=96000000
RCC.APB1Freq_Value=120000000
RCC.APB2Freq_Value=120000000
RCC.APB3Freq_Value=120000000
RCC.APB4Freq_Value=120000000
RCC.CortexFreq_Value=480000000
RCC.D1PPRE=RCC_APB3_DIV2
RCC.D2PPRE1=RCC_APB1_DIV2
RCC.D2PPRE2=RCC_APB2_DIV2
RCC.D3PPRE=RCC_APB4_DIV2
RCC.DIVM1=2
RCC.DIVM2=2
RCC.DIVN1=40
RCC.DIVN2=16
RCC.DIVP1=1
RCC.DIVQ1=4
RCC.HCLKFreq_Value=240000000
RCC.HPRE=RCC_HCLK_DIV2
RCC.HSE_VALUE=24000000
RCC.PLL2FRACN=0
RCC.PLL3FRACN=0
RCC.PLLFRACN=0
RCC.PLLSourceVirtual=RCC_PLLSOURCE_HSE
RCC.SPI6CLockSelection=RCC_SPI6CLKSOURCE_HSE
RCC.SYSCLKFreq_VALUE=480000000
RCC.SYSCLKSource=RCC_SYSCLKSOURCE_PLLCLK
RCC.USBCLockSelection=RCC_USBCLKSOURCE_HSI48
RCC.USBFreq_Value=48000000
SH.ADCx_INP4.0=ADC1_INP4,IN4-Single-Ended
SH.S_TIM12_CH2.0=TIM12_CH2,PWM Generation2 CH2
SH.S_TIM3_CH4.0=TIM3_CH4,PWM Generation4 CH4
SH.SharedStack_PC12.0=SPI3_MOSI
SH.SharedStack_PC12.1=UART5_TX,Asynchronous
SPI1.BaudRatePrescaler=SPI_BAUDRATEPRESCALER_16
SPI1.CalculateBaudRate=7.5 MBits/s
SPI1.DataSize=SPI_DATASIZE_16BIT
SPI1.Direction=SPI_DIRECTION_2LINES
SPI1.Mode=SPI_MODE_MASTER
SPI1.VirtualType=VM_MASTER
SPI2.BaudRatePrescaler=SPI_BAUDRATEPRESCALER_32
SPI2.CLKPhase=SPI_PHASE_2EDGE
SPI2.CLKPolarity=SPI_POLARITY_HIGH
SPI2.CalculateBaudRate=3.75 MBits/s
SPI2.DataSize=SPI_DATASIZE_8BIT
SPI2.Direction=SPI_DIRECTION_2LINES
SPI2.Mode=SPI_MODE_MASTER
SPI2.NSSPMode=SPI_NSS_PULSE_ENABLE
SPI2.VirtualType=VM_MASTER
SPI6.BaudRatePrescaler=SPI_BAUDRATEPRESCALER_4
SPI6.CLKPhase=SPI_PHASE_2EDGE
SPI6.CalculateBaudRate=6.0 MBits/s
SPI6.DataSize=SPI_DATASIZE_8BIT
SPI6.Direction=SPI_DIRECTION_2LINES_TXONLY
SPI6.Mode=SPI_MODE_MASTER
SPI6.VirtualType=VM_MASTER
STMicroelectronics.X-CUBE-ALGOBUILD.1.4.0.LibraryCcDSPOoLibraryJjDSPOoLibrary=true
TIM1.Channel-PWM\ Generation3\ No\ Output=TIM_CHANNEL_3
TIM1.Period=1999
TIM1.Prescaler=839
TIM12.Channel-PWM\ Generation2\ CH2=TIM_CHANNEL_2
TIM12.Period=2000-1
TIM12.Prescaler=24-1
TIM12.Pulse-PWM\ Generation2\ CH2=1000
TIM3.AutoReloadPreload=TIM_AUTORELOAD_PRELOAD_ENABLE
TIM3.Channel-PWM\ Generation4\ CH4=TIM_CHANNEL_4
TIM3.Period=10000-1
TIM3.Prescaler=24-1
UART5.BaudRate=100000
UART5.Mode=MODE_RX
UART5.Parity=PARITY_EVEN
UART5.StopBits=UART_STOPBITS_2
UART5.WordLength=WORDLENGTH_9B
UART7.BaudRate=921600
UART7.DMADisableonRxErrorParam=UART_ADVFEATURE_DMA_ENABLEONRXERROR
UART7.Mode=MODE_RX
UART7.OverrunDisableParam=UART_ADVFEATURE_OVERRUN_DISABLE
USART1.BaudRate=921600
USART1.VirtualMode-Asynchronous=VM_ASYNC
USART10.BaudRate=115200
USART10.DMADisableonRxErrorParam=ADVFEATURE_DMA_DISABLEONRXERROR
USART10.OverrunDisableParam=ADVFEATURE_OVERRUN_DISABLE
USART10.VirtualMode=VM_ASYNC
USART2.BaudRate=4800000
USART2.OverrunDisableParam=ADVFEATURE_OVERRUN_DISABLE
USART2.VirtualMode-Asynchronous=VM_ASYNC
USART2.VirtualMode-Hardware\ Flow\ Control\ (RS485)=VM_ASYNC
USART3.BaudRate=4800000
USART3.OverrunDisableParam=ADVFEATURE_OVERRUN_DISABLE
USART3.VirtualMode-Asynchronous=VM_ASYNC
USB_DEVICE.CLASS_NAME_HS=CDC
USB_DEVICE.VirtualMode=Cdc
USB_DEVICE.VirtualModeHS=Cdc_HS
USB_OTG_HS.VirtualMode-Device_Only_FS=Device_Only_FS
VP_ADC3_TempSens_Input.Mode=IN-TempSens
VP_CRC_VS_CRC.Mode=CRC_Activate
VP_FREERTOS_VS_CMSIS_V2.Mode=CMSIS_V2
VP_MEMORYMAP_VS_MEMORYMAP.Mode=CurAppReg
VP_STMicroelectronics.X-CUBE-ALGOBUILD_VS_DSPOoLibraryJjLibrary_1.4.0_1.4.0.Mode=DSPOoLibraryJjLibrary
VP_SYS_VS_tim23.Mode=TIM23
VP_TIM1_VS_ClockSourceINT.Mode=Internal
VP_TIM1_VS_no_output3.Mode=PWM Generation3 No Output
VP_USB_DEVICE_VS_USB_DEVICE_CDC_HS.Mode=CDC_HS
board=custom

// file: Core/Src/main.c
/* USER CODE BEGIN Header */
/**
  ******************************************************************************
  * @file           : main.c
  * @brief          : Main program body
  ******************************************************************************
  * @attention
  *
  * Copyright (c) 2025 STMicroelectronics.
  * All rights reserved.
  *
  * This software is licensed under terms that can be found in the LICENSE file
  * in the root directory of this software component.
  * If no LICENSE file comes with this software, it is provided AS-IS.
  *
  ******************************************************************************
  */
/* USER CODE END Header */
#include "main.h"
#include "cmsis_os.h"
#include "adc.h"
#include "crc.h"
#include "dma.h"
#include "fdcan.h"
#include "spi.h"
#include "tim.h"
#include "usart.h"
#include "usb_device.h"
#include "gpio.h"

/* USER CODE BEGIN Includes */

#include "buzzer.h"
#include "ws2812status.h"
#include "robot.h"

/* USER CODE END Includes */

void SystemClock_Config(void);
void PeriphCommonClock_Config(void);
static void MPU_Config(void);
void MX_FREERTOS_Init(void);

int main(void)
{

  /* MPU Configuration--------------------------------------------------------*/
  MPU_Config();

  /* Enable the CPU Cache */

  /* Enable I-Cache---------------------------------------------------------*/
  SCB_EnableICache();

  /* Enable D-Cache---------------------------------------------------------*/
  SCB_EnableDCache();

  /* MCU Configuration--------------------------------------------------------*/

  /* Reset of all peripherals, Initializes the Flash interface and the Systick. */
  HAL_Init();

  /* Configure the system clock */
  SystemClock_Config();

  /* Configure the peripherals common clocks */
  PeriphCommonClock_Config();

  /* Initialize all configured peripherals */
  MX_GPIO_Init();
  MX_DMA_Init();
  MX_FDCAN2_Init();
  MX_FDCAN3_Init();
  MX_CRC_Init();
  MX_FDCAN1_Init();
  MX_USART10_UART_Init();
  MX_SPI2_Init();
  MX_TIM12_Init();
  MX_UART7_Init();
  MX_TIM1_Init();
  MX_USART1_UART_Init();
  MX_ADC3_Init();
  MX_USART2_UART_Init();
  MX_USART3_UART_Init();
  MX_SPI1_Init();
  MX_UART5_Init();
  MX_TIM3_Init();
  MX_SPI6_Init();
  MX_ADC1_Init();
  /* USER CODE BEGIN 2 */

    robotSelfCheck(); //自检LED
    RobotInit();
    systemstart_song(); //开机音乐

    /*还没有启动调度器！不允许任何涉及到 Freertos ticks的内容在这里运行！！！*/
  /* USER CODE END 2 */

  /* Init scheduler */
  osKernelInitialize();  /* Call init function for freertos objects (in cmsis_os2.c) */
  MX_FREERTOS_Init();

  /* Start scheduler */
  osKernelStart();

  /* We should never get here as control is now taken by the scheduler */

  /* Infinite loop */
    while (1)
    {

    }
}

void SystemClock_Config(void)
{
  RCC_OscInitTypeDef RCC_OscInitStruct = {0};
  RCC_ClkInitTypeDef RCC_ClkInitStruct = {0};

  /** Supply configuration update enable
  */
  HAL_PWREx_ConfigSupply(PWR_LDO_SUPPLY);

  /** Configure the main internal regulator output voltage
  */
  __HAL_PWR_VOLTAGESCALING_CONFIG(PWR_REGULATOR_VOLTAGE_SCALE0);

  while(!__HAL_PWR_GET_FLAG(PWR_FLAG_VOSRDY)) {}

  /** Initializes the RCC Oscillators according to the specified parameters
  * in the RCC_OscInitTypeDef structure.
  */
  RCC_OscInitStruct.OscillatorType = RCC_OSCILLATORTYPE_HSI48|RCC_OSCILLATORTYPE_HSI
                              |RCC_OSCILLATORTYPE_HSE;
  RCC_OscInitStruct.HSEState = RCC_HSE_ON;
  RCC_OscInitStruct.HSIState = RCC_HSI_DIV1;
  RCC_OscInitStruct.HSICalibrationValue = 64;
  RCC_OscInitStruct.HSI48State = RCC_HSI48_ON;
  RCC_OscInitStruct.PLL.PLLState = RCC_PLL_ON;
  RCC_OscInitStruct.PLL.PLLSource = RCC_PLLSOURCE_HSE;
  RCC_OscInitStruct.PLL.PLLM = 2;
  RCC_OscInitStruct.PLL.PLLN = 40;
  RCC_OscInitStruct.PLL.PLLP = 1;
  RCC_OscInitStruct.PLL.PLLQ = 4;
  RCC_OscInitStruct.PLL.PLLR = 2;
  RCC_OscInitStruct.PLL.PLLRGE = RCC_PLL1VCIRANGE_3;
  RCC_OscInitStruct.PLL.PLLVCOSEL = RCC_PLL1VCOWIDE;
  RCC_OscInitStruct.PLL.PLLFRACN = 0;
  if (HAL_RCC_OscConfig(&RCC_OscInitStruct) != HAL_OK)
  {
    Error_Handler();
  }

  /** Initializes the CPU, AHB and APB buses clocks
  */
  RCC_ClkInitStruct.ClockType = RCC_CLOCKTYPE_HCLK|RCC_CLOCKTYPE_SYSCLK
                              |RCC_CLOCKTYPE_PCLK1|RCC_CLOCKTYPE_PCLK2
                              |RCC_CLOCKTYPE_D3PCLK1|RCC_CLOCKTYPE_D1PCLK1;
  RCC_ClkInitStruct.SYSCLKSource = RCC_SYSCLKSOURCE_PLLCLK;
  RCC_ClkInitStruct.SYSCLKDivider = RCC_SYSCLK_DIV1;
  RCC_ClkInitStruct.AHBCLKDivider = RCC_HCLK_DIV2;
  RCC_ClkInitStruct.APB3CLKDivider = RCC_APB3_DIV2;
  RCC_ClkInitStruct.APB1CLKDivider = RCC_APB1_DIV2;
  RCC_ClkInitStruct.APB2CLKDivider = RCC_APB2_DIV2;
  RCC_ClkInitStruct.APB4CLKDivider = RCC_APB4_DIV2;

  if (HAL_RCC_ClockConfig(&RCC_ClkInitStruct, FLASH_LATENCY_3) != HAL_OK)
  {
    Error_Handler();
  }
  HAL_RCC_MCOConfig(RCC_MCO1, RCC_MCO1SOURCE_HSI, RCC_MCODIV_1);
}

void PeriphCommonClock_Config(void)
{
  RCC_PeriphCLKInitTypeDef PeriphClkInitStruct = {0};

  /** Initializes the peripherals clock
  */
  PeriphClkInitStruct.PeriphClockSelection = RCC_PERIPHCLK_ADC;
  PeriphClkInitStruct.PLL2.PLL2M = 2;
  PeriphClkInitStruct.PLL2.PLL2N = 16;
  PeriphClkInitStruct.PLL2.PLL2P = 2;
  PeriphClkInitStruct.PLL2.PLL2Q = 2;
  PeriphClkInitStruct.PLL2.PLL2R = 2;
  PeriphClkInitStruct.PLL2.PLL2RGE = RCC_PLL2VCIRANGE_3;
  PeriphClkInitStruct.PLL2.PLL2VCOSEL = RCC_PLL2VCOWIDE;
  PeriphClkInitStruct.PLL2.PLL2FRACN = 0;
  PeriphClkInitStruct.AdcClockSelection = RCC_ADCCLKSOURCE_PLL2;
  if (HAL_RCCEx_PeriphCLKConfig(&PeriphClkInitStruct) != HAL_OK)
  {
    Error_Handler();
  }
}

 /* MPU Configuration */

void MPU_Config(void)
{
  MPU_Region_InitTypeDef MPU_InitStruct = {0};

  /* Disables the MPU */
  HAL_MPU_Disable();

  /** Initializes and configures the Region and the memory to be protected
  */
  MPU_InitStruct.Enable = MPU_REGION_ENABLE;
  MPU_InitStruct.Number = MPU_REGION_NUMBER0;
  MPU_InitStruct.BaseAddress = 0x24000000;
  MPU_InitStruct.Size = MPU_REGION_SIZE_128KB;
  MPU_InitStruct.SubRegionDisable = 0x0;
  MPU_InitStruct.TypeExtField = MPU_TEX_LEVEL1;
  MPU_InitStruct.AccessPermission = MPU_REGION_FULL_ACCESS;
  MPU_InitStruct.DisableExec = MPU_INSTRUCTION_ACCESS_ENABLE;
  MPU_InitStruct.IsShareable = MPU_ACCESS_NOT_SHAREABLE;
  MPU_InitStruct.IsCacheable = MPU_ACCESS_NOT_CACHEABLE;
  MPU_InitStruct.IsBufferable = MPU_ACCESS_NOT_BUFFERABLE;

  HAL_MPU_ConfigRegion(&MPU_InitStruct);
  /* Enables the MPU */
  HAL_MPU_Enable(MPU_HFNMI_PRIVDEF);

}

void HAL_TIM_PeriodElapsedCallback(TIM_HandleTypeDef *htim)
{
  if (htim->Instance == TIM23)
  {
    HAL_IncTick();
  }
}

void Error_Handler(void)
{
    __disable_irq();
    while (1)
    {
    }
}

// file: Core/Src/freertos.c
/* USER CODE BEGIN Header */
/**
  ******************************************************************************
  * File Name          : freertos.c
  * Description        : Code for freertos applications
  ******************************************************************************
  * @attention
  *
  * Copyright (c) 2025 STMicroelectronics.
  * All rights reserved.
  *
  * This software is licensed under terms that can be found in the LICENSE file
  * in the root directory of this software component.
  * If no LICENSE file comes with this software, it is provided AS-IS.
  *
  ******************************************************************************
  */
/* USER CODE END Header */

#include "FreeRTOS.h"
#include "task.h"
#include "main.h"
#include "cmsis_os.h"

/* USER CODE BEGIN Includes */
#include "ws2812status.h"
#include "ins_task.h"
#include "buzzer.h"
// #include "remoteTask.h"
//
// #include "bsp_dwt.h"
// // #include "ins_task.h"
// #include "bsp_log.h"
#include "dev_cmd.h"
#include "daemon.h"
#include "bsp_usart.h"
/* USER CODE END Includes */

/* Definitions for BeginTask */
osThreadId_t BeginTaskHandle;
const osThreadAttr_t BeginTask_attributes = {
  .name = "BeginTask",
  .stack_size = 256 * 4,
  .priority = (osPriority_t) osPriorityNormal,
};
/* Definitions for shoot */
osThreadId_t shootHandle;
const osThreadAttr_t shoot_attributes = {
  .name = "shoot",
  .stack_size = 512 * 4,
  .priority = (osPriority_t) osPriorityNormal,
};
/* Definitions for gimbal */
osThreadId_t gimbalHandle;
const osThreadAttr_t gimbal_attributes = {
  .name = "gimbal",
  .stack_size = 512 * 4,
  .priority = (osPriority_t) osPriorityNormal,
};
/* Definitions for chassis */
osThreadId_t chassisHandle;
const osThreadAttr_t chassis_attributes = {
  .name = "chassis",
  .stack_size = 512 * 4,
  .priority = (osPriority_t) osPriorityNormal,
};
/* Definitions for init */
osThreadId_t initHandle;
const osThreadAttr_t init_attributes = {
  .name = "init",
  .stack_size = 256 * 4,
  .priority = (osPriority_t) osPriorityHigh,
};
/* Definitions for vision */
osThreadId_t visionHandle;
const osThreadAttr_t vision_attributes = {
  .name = "vision",
  .stack_size = 512 * 4,
  .priority = (osPriority_t) osPriorityNormal,
};
/* Definitions for cmd */
osThreadId_t cmdHandle;
const osThreadAttr_t cmd_attributes = {
  .name = "cmd",
  .stack_size = 512 * 4,
  .priority = (osPriority_t) osPriorityNormal,
};
/* Definitions for reference */
osThreadId_t referenceHandle;
const osThreadAttr_t reference_attributes = {
  .name = "reference",
  .stack_size = 512 * 4,
  .priority = (osPriority_t) osPriorityNormal,
};
/* Definitions for WS2812Task */
osThreadId_t WS2812TaskHandle;
const osThreadAttr_t WS2812Task_attributes = {
  .name = "WS2812Task",
  .stack_size = 256 * 4,
  .priority = (osPriority_t) osPriorityBelowNormal,
};

/* USER CODE BEGIN FunctionPrototypes */
//@Todo:测试instask
const osThreadAttr_t instask_attributes = {
  .name = "instask",
  .priority = osPriorityAboveNormal, // 较高优先级
  .stack_size = 1024 * 4 // 栈大小，单位是字节（通常是字数的4倍）
};

//@Todo:测试使用
osThreadId insTaskHandle;

void StartINSTASK(void *argument);

//@Todo:测试daemon(但是没有daemon注册)
const osThreadAttr_t daemon_attributes = {
    .name = "daemon",
    .priority = osPriorityAboveNormal, // 较高优先级
    .stack_size = 1024 * 4 // 栈大小，单位是字节（通常是字数的4倍）
  };

//@Todo:测试使用
osThreadId daemonHandle;

void StartDaemonTask(void *argument); // <--- 新的，带参数的标准 RTOS 线程声明

const osThreadAttr_t buzzer_attributes = {
    .name = "buzzer",
    .priority = osPriorityNormal,
    .stack_size = 512 * 4
};
osThreadId buzzerHandle;
extern void buzzerTask(void *argument);

/* USER CODE END FunctionPrototypes */

void StartDefaultTask(void *argument);
void ShootTask(void *argument);
void GimbalTask(void *argument);
void ChassisTask(void *argument);
void StartInitTask(void *argument);
void VisionTask(void *argument);
void CmdTask(void *argument);
void RefereeTask(void *argument);
extern void ws2812Task(void *argument);

extern void MX_USB_DEVICE_Init(void);
void MX_FREERTOS_Init(void); /* (MISRA C 2004 rule 8.1) */

/* Hook prototypes */
void vApplicationStackOverflowHook(xTaskHandle xTask, signed char *pcTaskName);
void vApplicationMallocFailedHook(void);

/* USER CODE BEGIN 4 */
void vApplicationStackOverflowHook(xTaskHandle xTask, signed char *pcTaskName)
{
  /* Run time stack overflow checking is performed if
  configCHECK_FOR_STACK_OVERFLOW is defined to 1 or 2. This hook function is
  called if a stack overflow is detected. */
}

/* USER CODE END 4 */

/* USER CODE BEGIN 5 */
void vApplicationMallocFailedHook(void)
{
  /* vApplicationMallocFailedHook() will only be called if
  configUSE_MALLOC_FAILED_HOOK is set to 1 in FreeRTOSConfig.h. It is a hook
  function that will get called if a call to pvPortMalloc() fails.
  pvPortMalloc() is called internally by the kernel whenever a task, queue,
  timer or semaphore is created. It is also called by various parts of the
  demo application. If heap_1.c or heap_2.c are used, then the size of the
  heap available to pvPortMalloc() is defined by configTOTAL_HEAP_SIZE in
  FreeRTOSConfig.h, and the xPortGetFreeHeapSize() API function can be used
  to query the size of free heap space that remains (although it does not
  provide information on how the remaining heap might be fragmented). */
}

/* USER CODE END 5 */

void MX_FREERTOS_Init(void) {

  /* Create the thread(s) */
  /* creation of BeginTask */
  BeginTaskHandle = osThreadNew(StartDefaultTask, NULL, &BeginTask_attributes);

  /* creation of shoot */
  shootHandle = osThreadNew(ShootTask, NULL, &shoot_attributes);

  /* creation of gimbal */
  gimbalHandle = osThreadNew(GimbalTask, NULL, &gimbal_attributes);

  /* creation of chassis */
  chassisHandle = osThreadNew(ChassisTask, NULL, &chassis_attributes);

  /* creation of init */
  initHandle = osThreadNew(StartInitTask, NULL, &init_attributes);

  /* creation of vision */
  visionHandle = osThreadNew(VisionTask, NULL, &vision_attributes);

  /* creation of cmd */
  cmdHandle = osThreadNew(CmdTask, NULL, &cmd_attributes);

  /* creation of reference */
  referenceHandle = osThreadNew(RefereeTask, NULL, &reference_attributes);

  /* creation of WS2812Task */
  WS2812TaskHandle = osThreadNew(ws2812Task, NULL, &WS2812Task_attributes);

  /* USER CODE BEGIN RTOS_THREADS */
  /* add threads, ... */
  //@Todo:INS_Task是测试版本
  // 创建线程
  insTaskHandle = osThreadNew(StartINSTASK, NULL, &instask_attributes);

  //@Todo:daemon是测试版本
  // 创建线程
  daemonHandle = osThreadNew(StartDaemonTask, NULL, &daemon_attributes); // <--- 换成新的函数名
  buzzerHandle = osThreadNew(buzzerTask, NULL, &buzzer_attributes);
  /* USER CODE END RTOS_THREADS */

}

__weak void StartDefaultTask(void *argument)
{
  /* init code for USB_DEVICE */
  MX_USB_DEVICE_Init();
  for (;;)
  {
    osDelay(1);
  }
}

__weak void ShootTask(void *argument)
{
  for (;;)
  {
    osDelay(1);
  }
}

__weak void GimbalTask(void *argument)
{
  for (;;)
  {
    osDelay(1);
  }
}

__weak void ChassisTask(void *argument)
{
  for (;;)
  {
    osDelay(1);
  }
}

__weak void StartInitTask(void *argument)
{
  for (;;)
  {
    osDelay(1);
  }
}

__weak void VisionTask(void *argument)
{
  for (;;)
  {
    osDelay(1);
  }
}

__weak void CmdTask(void *argument)
{
  for (;;)
  {
    osDelay(1);
  }
}

__weak void RefereeTask(void *argument)
{
  for (;;)
  {
    osDelay(1);
  }
}

/* USER CODE BEGIN Application */

//@Todo:INS_Task是测试阶段使用。
__attribute__((noreturn)) void StartINSTASK(void *argument)
{
  static float ins_start;
  static float ins_dt;
  INS_Init(); // 确保BMI088被正确初始化.
  // LOGINFO("[freeRTOS] INS Task Start");
  for (;;)
  {
    // 1kHz
    // ins_start = DWT_GetTimeline_ms();
    INS_Task();
    // ins_dt = DWT_GetTimeline_ms() - ins_start;
    // if (ins_dt > 1)
    // @Todo: LOGERROR("[freeRTOS] INS Task is being DELAY! dt = [%f]", &ins_dt);
    // // VisionSend(); // 解算完成后发送视觉数据,但是当前的实现不太优雅,后续若添加硬件触发需要重新考虑结构的组织
    osDelay(1); // 1ms, 1kHz
  }
}

/**
* @brief Function implementing the reference thread.
* @param argument: Not used
* @retval None
* @Todo:Deamon task 后期加入cmd和def
*/
/* USER CODE END Header_RefereeTask */
__attribute__((noreturn)) void StartDaemonTask(void *argument)
{
    /* USER CODE BEGIN StartDaemonTask */
    // LOGINFO("[freeRTOS] Daemon Task Start");

    /* Infinite loop */
    for (;;)
    {
        USARTServiceTask();

        // 1. 执行核心的数据刷新逻辑
        Daemon_Update();

        // 2. 线程休眠 10ms (100Hz 运行频率)
        osDelay(10);
    }
    /* USER CODE END StartDaemonTask */
}

// 注意：把你原来写在 freertos.c 里的那个 __weak void DaemonTask() 整个删掉，防止干扰！

/* USER CODE END Application */
